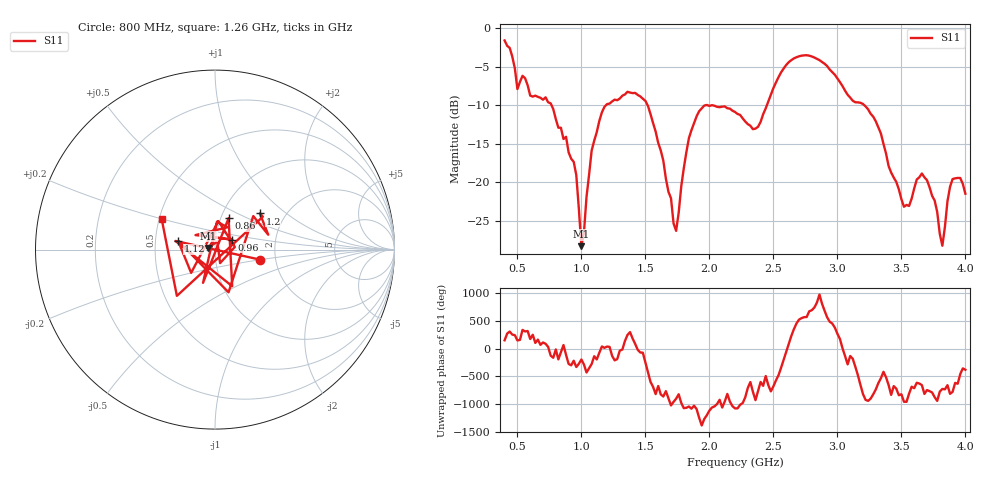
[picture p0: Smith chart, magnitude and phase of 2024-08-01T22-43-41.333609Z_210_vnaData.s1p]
!Created with skrf (http://scikit-rf.org).
# Hz S RI R 50.0
!freq ReS11 ImS11
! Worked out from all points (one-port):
!   181 points, 400 MHz to 4 GHz, reference 50 ohm
!   lowest |S11| = -28.3 dB at 1 GHz (marker M1), VSWR 1.08, Z = 46.4 + j0.877 ohm
!   |S11| at or under -10 dB: 1.517 GHz to 1.976 GHz (459.4 MHz wide, 26.3 % of centre); 1.982 GHz to 2.45 GHz (467.2 MHz wide, 21.1 % of centre); 3.209 GHz to end of sweep (the widest 3 of 4)
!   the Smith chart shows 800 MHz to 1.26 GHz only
!   S11 on the Smith chart (normalised r, x): 800 MHz: 1.65, -0.20; 860 MHz: 1.09, +0.40; 960 MHz: 1.21, +0.14; 1.12 GHz: 0.66, +0.07; 1.2 GHz: 1.49, +0.67; 1.26 GHz: 0.52, +0.20
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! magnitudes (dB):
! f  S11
! 400 MHz  -1.6
! 500 MHz  -7.9
! 800 MHz  -11.8
! 860 MHz  -14.4
! 960 MHz  -19.1
! 1 GHz  -28.3
! 1.08 GHz  -15.9
! 1.12 GHz  -13.5
! 1.2 GHz  -9.9
! 1.26 GHz  -9.3
! 1.3 GHz  -9.1
! 1.5 GHz  -9.5
! 1.64 GHz  -17.2
! 1.72 GHz  -25.4
! 1.76 GHz  -24.0
! 1.84 GHz  -14.3
! 1.92 GHz  -10.8
! 2.2 GHz  -10.9
! 2.38 GHz  -12.8
! 2.66 GHz  -3.9
! 3.1 GHz  -9.0
! 3.3 GHz  -12.1
! 3.56 GHz  -23.1
! 3.66 GHz  -18.9
! 3.76 GHz  -22.4
! 3.82 GHz  -28.3
! 3.9 GHz  -19.6
! 4 GHz  -21.5
